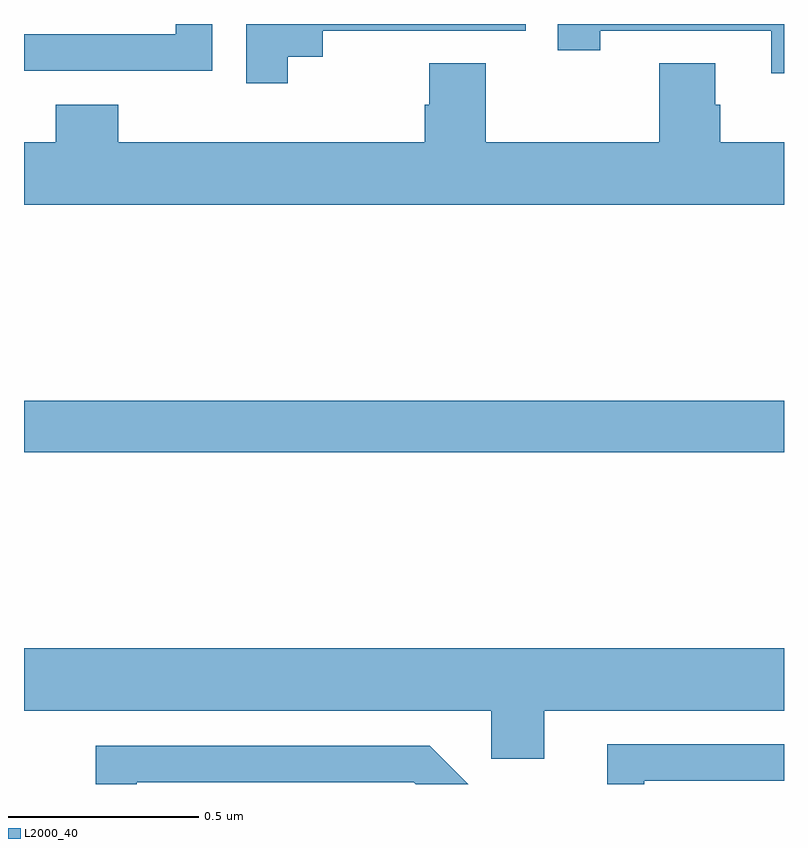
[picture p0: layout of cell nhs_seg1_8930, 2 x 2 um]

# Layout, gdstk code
import gdstk
lib = gdstk.Library(unit=1e-6, precision=1e-09)
def R(c, l, rs):  # rectangles x0, y0, x1, y1
    for r in rs: c.add(gdstk.rectangle(r[:2], r[2:], *l))
def P(c, l, *ps):  # polygons
    for p in ps: c.add(gdstk.Polygon(p, *l))
L2000_40 = (2000, 40)

nhs_seg1_8930 = lib.new_cell('nhs_seg1_8930')
R(nhs_seg1_8930, L2000_40, [(222,559.072,224,559.208)])
P(nhs_seg1_8930, L2000_40, [(222.495,560.199),(222.399,560.199),(222.399,560.172),(222,560.172),(222,560.076),(222.495,560.076)],
  [(224,560.199),(223.405,560.199),(223.405,560.13),(223.516,560.13),(223.516,560.181),(223.967,560.181),(223.967,560.07),(224,560.07)],
  [(222.694,560.113),(222.786,560.113),(222.786,560.181),(223.32,560.181),(223.32,560.199),(222.585,560.199),(222.585,560.043),(222.694,560.043)],
  [(224,559.888),(223.832,559.888),(223.832,559.986),(223.819,559.986),(223.819,560.096),(223.672,560.096),(223.672,559.888),(223.215,559.888),(223.215,560.096),(223.067,560.096),(223.067,559.986),(223.055,559.986),(223.055,559.888),(222.248,559.888),(222.248,559.987),(222.083,559.987),(222.083,559.888),(222,559.888),(222,559.724),(224,559.724)],
  [(223.369,558.392),(224,558.392),(224,558.556),(222,558.556),(222,558.392),(223.23,558.392),(223.23,558.265),(223.369,558.265)],
  [(223.632,558.207),(224,558.207),(224,558.303),(223.535,558.303),(223.535,558.199),(223.632,558.199)],
  [(222.297,558.204),(223.026,558.204),(223.031,558.199),(223.169,558.199),(223.068,558.3),(222.189,558.3),(222.189,558.199),(222.297,558.199)])

lib.write_gds('nhs_seg1_8930.gds')
